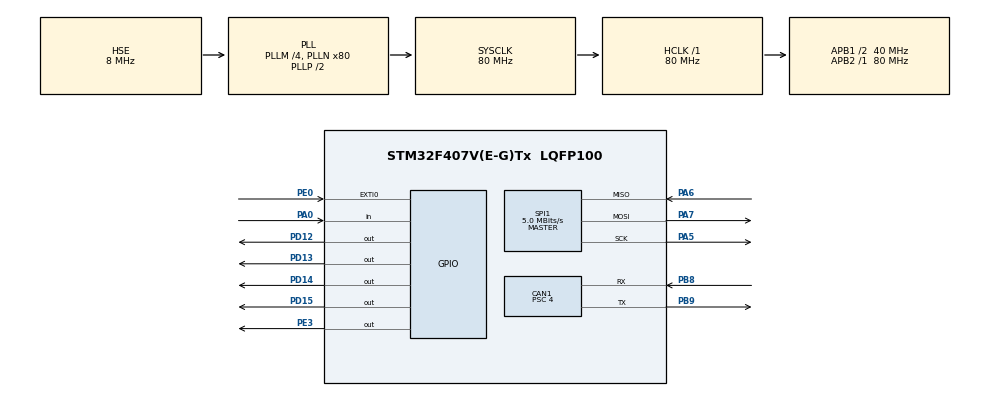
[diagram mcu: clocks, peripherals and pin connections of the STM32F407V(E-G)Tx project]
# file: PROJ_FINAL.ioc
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CAN1.BS1=CAN_BS1_12TQ
CAN1.BS2=CAN_BS2_7TQ
CAN1.CalculateTimeQuantum=100.0
CAN1.NART=ENABLE
CAN1.Prescaler=4
CAN1.SJW=CAN_SJW_3TQ
FREERTOS.Tasks01=Task01,24,240,StartTask01,Default,NULL,Dynamic,NULL,NULL;Task02,8,240,StartTask02,Default,NULL,Dynamic,NULL,NULL;Task03,8,240,StartTask03,Default,NULL,Dynamic,NULL,NULL
Mcu.Family=STM32F4
Mcu.Name=STM32F407V(E-G)Tx
Mcu.Package=LQFP100
NVIC.CAN1_RX0_IRQn=true\:5\:0\:false\:false\:true\:true\:true\:true
NVIC.EXTI0_IRQn=true\:5\:0\:false\:false\:true\:true\:true\:true
NVIC.PriorityGroup=NVIC_PRIORITYGROUP_4
NVIC.TIM6_DAC_IRQn=true\:0\:0\:false\:false\:true\:false\:false\:true
NVIC.TimeBase=TIM6_DAC_IRQn
NVIC.TimeBaseIP=TIM6
PA0-WKUP.Signal=GPIO_Input
PA5.Mode=Full_Duplex_Master
PA5.Signal=SPI1_SCK
PA6.Mode=Full_Duplex_Master
PA6.Signal=SPI1_MISO
PA7.Mode=Full_Duplex_Master
PA7.Signal=SPI1_MOSI
PB8.Mode=Master
PB8.Signal=CAN1_RX
PB9.Mode=Master
PB9.Signal=CAN1_TX
PD12.Signal=GPIO_Output
PD13.Signal=GPIO_Output
PD14.Signal=GPIO_Output
PD15.Signal=GPIO_Output
PE0.Signal=GPXTI0
PE3.Signal=GPIO_Output
PH0-OSC_IN.Mode=HSE-External-Oscillator
PH0-OSC_IN.Signal=RCC_OSC_IN
PH1-OSC_OUT.Mode=HSE-External-Oscillator
PH1-OSC_OUT.Signal=RCC_OSC_OUT
ProjectManager.HeapSize=0x200
ProjectManager.StackSize=0x400
ProjectManager.TargetToolchain=STM32CubeIDE
RCC.48MHZClocksFreq_Value=40000000
RCC.AHBFreq_Value=80000000
RCC.APB1CLKDivider=RCC_HCLK_DIV2
RCC.APB1Freq_Value=40000000
RCC.APB1TimFreq_Value=80000000
RCC.APB2Freq_Value=80000000
RCC.APB2TimFreq_Value=80000000
RCC.CortexFreq_Value=80000000
RCC.HCLKFreq_Value=80000000
RCC.HSE_VALUE=8000000
RCC.HSI_VALUE=16000000
RCC.LSE_VALUE=32768
RCC.PLLM=4
RCC.PLLN=80
RCC.PLLSourceVirtual=RCC_PLLSOURCE_HSE
RCC.SYSCLKFreq_VALUE=80000000
RCC.SYSCLKSource=RCC_SYSCLKSOURCE_PLLCLK
RCC.VCOOutputFreq_Value=160000000
SPI1.BaudRatePrescaler=SPI_BAUDRATEPRESCALER_16
SPI1.CalculateBaudRate=5.0 MBits/s
SPI1.Direction=SPI_DIRECTION_2LINES
SPI1.Mode=SPI_MODE_MASTER
SPI1.VirtualType=VM_MASTER
VP_FREERTOS_VS_CMSIS_V2.Mode=CMSIS_V2
VP_SYS_VS_tim6.Mode=TIM6
board=custom

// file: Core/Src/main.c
/*Electronic Parking Brake System*/

/*Headers*/
#include "main.h"
#include <math.h>
#include "cmsis_os.h"
#include "LIS3DSH.h"
#include "task.h"
#include "semphr.h"
#include "string.h"

/*Macros*/
#define PI 3.147

/* Private variables*/
CAN_HandleTypeDef hcan1;

SPI_HandleTypeDef hspi1;

LIS3DSH_InitTypeDef myAccConfigDef;
LIS3DSH_DataScaled myData;

//for non blocking delays
TickType_t tickstowait = 100;
TimeOut_t timeout;

SemaphoreHandle_t xSemaphore;

//CAN related variables
CAN_HandleTypeDef hcan1;

CAN_FilterTypeDef filter1;
CAN_TxHeaderTypeDef TxHeader;
CAN_RxHeaderTypeDef RxHeader;

char TxData[8];
uint8_t RxData[8];
uint32_t TxMbNum;

/* Definitions for Task01 */
osThreadId_t Task01Handle;
const osThreadAttr_t Task01_attributes = {
  .name = "Task01",
  .priority = (osPriority_t) osPriorityAboveNormal1,
  .stack_size = 240
};
/* Definitions for Task02 */
osThreadId_t Task02Handle;
const osThreadAttr_t Task02_attributes = {
  .name = "Task02",
  .priority = (osPriority_t) osPriorityAboveNormal2,
  .stack_size = 240
};

/* Private function prototypes */
void SystemClock_Config(void);
static void MX_GPIO_Init(void);
static void MX_CAN1_Init(void);
static void MX_SPI1_Init(void);
void StartTask01(void *argument);
void StartTask02(void *argument);

static void CAN1_Filter_Config(void);
static void Can_Tx(void);

static void Acc_config(void);
void Sampling_ACC(void);
static void Intensity_Cal(void);

int main(void)
{
  /*System Initialization*/
  HAL_Init();
  SystemClock_Config();

  /* Initialize all configured peripherals */
  MX_GPIO_Init();
  MX_CAN1_Init();
  MX_SPI1_Init();
  /*Accelerometer specific configurations*/
  Acc_config();
  LIS3DSH_Init(&hspi1, &myAccConfigDef);
  /*CAN specific configurations*/
  CAN1_Filter_Config();
  HAL_CAN_Start(&hcan1);
  HAL_CAN_ActivateNotification(&hcan1, CAN_IT_RX_FIFO0_MSG_PENDING);//receive it

  /* Init scheduler */
  osKernelInitialize();

  /*Semaphore for synchronization*/
  xSemaphore = xSemaphoreCreateCounting(2,0);

  /* Create the thread(s) */
  /* creation of Task01 */
  Task01Handle = osThreadNew(StartTask01, NULL, &Task01_attributes);

  /* creation of Task02 */
  Task02Handle = osThreadNew(StartTask02, NULL, &Task02_attributes);

  /* Start scheduler */
  osKernelStart();

  while (1);
}

void SystemClock_Config(void)
{
  RCC_OscInitTypeDef RCC_OscInitStruct = {0};
  RCC_ClkInitTypeDef RCC_ClkInitStruct = {0};

  /** Configure the main internal regulator output voltage
  */
  __HAL_RCC_PWR_CLK_ENABLE();
  __HAL_PWR_VOLTAGESCALING_CONFIG(PWR_REGULATOR_VOLTAGE_SCALE1);
  /** Initializes the CPU, AHB and APB busses clocks
  */
  RCC_OscInitStruct.OscillatorType = RCC_OSCILLATORTYPE_HSE;
  RCC_OscInitStruct.HSEState = RCC_HSE_ON;
  RCC_OscInitStruct.PLL.PLLState = RCC_PLL_ON;
  RCC_OscInitStruct.PLL.PLLSource = RCC_PLLSOURCE_HSE;
  RCC_OscInitStruct.PLL.PLLM = 4;
  RCC_OscInitStruct.PLL.PLLN = 80;
  RCC_OscInitStruct.PLL.PLLP = RCC_PLLP_DIV2;
  RCC_OscInitStruct.PLL.PLLQ = 4;
  if (HAL_RCC_OscConfig(&RCC_OscInitStruct) != HAL_OK)
  {
    Error_Handler();
  }
  /** Initializes the CPU, AHB and APB busses clocks
  */
  RCC_ClkInitStruct.ClockType = RCC_CLOCKTYPE_HCLK|RCC_CLOCKTYPE_SYSCLK
                              |RCC_CLOCKTYPE_PCLK1|RCC_CLOCKTYPE_PCLK2;
  RCC_ClkInitStruct.SYSCLKSource = RCC_SYSCLKSOURCE_PLLCLK;
  RCC_ClkInitStruct.AHBCLKDivider = RCC_SYSCLK_DIV1;
  RCC_ClkInitStruct.APB1CLKDivider = RCC_HCLK_DIV2;
  RCC_ClkInitStruct.APB2CLKDivider = RCC_HCLK_DIV1;

  if (HAL_RCC_ClockConfig(&RCC_ClkInitStruct, FLASH_LATENCY_2) != HAL_OK)
  {
    Error_Handler();
  }
}

static void MX_CAN1_Init(void)
{

  hcan1.Instance = CAN1;
  hcan1.Init.Prescaler = 4;
  hcan1.Init.Mode = CAN_MODE_NORMAL;
  hcan1.Init.SyncJumpWidth = CAN_SJW_3TQ;
  hcan1.Init.TimeSeg1 = CAN_BS1_12TQ;
  hcan1.Init.TimeSeg2 = CAN_BS2_7TQ;
  hcan1.Init.TimeTriggeredMode = DISABLE;
  hcan1.Init.AutoBusOff = DISABLE;
  hcan1.Init.AutoWakeUp = DISABLE;
  hcan1.Init.AutoRetransmission = ENABLE;
  hcan1.Init.ReceiveFifoLocked = DISABLE;
  hcan1.Init.TransmitFifoPriority = DISABLE;
  if (HAL_CAN_Init(&hcan1) != HAL_OK)
  {
    Error_Handler();
  }

}

static void MX_SPI1_Init(void)
{

  /* SPI1 parameter configuration*/
  hspi1.Instance = SPI1;
  hspi1.Init.Mode = SPI_MODE_MASTER;
  hspi1.Init.Direction = SPI_DIRECTION_2LINES;
  hspi1.Init.DataSize = SPI_DATASIZE_8BIT;
  hspi1.Init.CLKPolarity = SPI_POLARITY_LOW;
  hspi1.Init.CLKPhase = SPI_PHASE_1EDGE;
  hspi1.Init.NSS = SPI_NSS_SOFT;
  hspi1.Init.BaudRatePrescaler = SPI_BAUDRATEPRESCALER_16;
  hspi1.Init.FirstBit = SPI_FIRSTBIT_MSB;
  hspi1.Init.TIMode = SPI_TIMODE_DISABLE;
  hspi1.Init.CRCCalculation = SPI_CRCCALCULATION_DISABLE;
  hspi1.Init.CRCPolynomial = 10;
  if (HAL_SPI_Init(&hspi1) != HAL_OK)
  {
    Error_Handler();
  }

}

static void MX_GPIO_Init(void)
{
  GPIO_InitTypeDef GPIO_InitStruct = {0};

  /* GPIO Ports Clock Enable */
  __HAL_RCC_GPIOE_CLK_ENABLE();
  __HAL_RCC_GPIOH_CLK_ENABLE();
  __HAL_RCC_GPIOA_CLK_ENABLE();
  __HAL_RCC_GPIOD_CLK_ENABLE();
  __HAL_RCC_GPIOB_CLK_ENABLE();

  /*Configure GPIO pin Output Level */
  HAL_GPIO_WritePin(GPIOE, GPIO_PIN_3, GPIO_PIN_RESET);

  /*Configure GPIO pin Output Level */
  HAL_GPIO_WritePin(GPIOD, GPIO_PIN_12|GPIO_PIN_13|GPIO_PIN_14|GPIO_PIN_15, GPIO_PIN_RESET);

  /*Configure GPIO pin : PE3 */
  GPIO_InitStruct.Pin = GPIO_PIN_3;
  GPIO_InitStruct.Mode = GPIO_MODE_OUTPUT_PP;
  GPIO_InitStruct.Pull = GPIO_NOPULL;
  GPIO_InitStruct.Speed = GPIO_SPEED_FREQ_LOW;
  HAL_GPIO_Init(GPIOE, &GPIO_InitStruct);

  /*Configure GPIO pin : PA0 */
  GPIO_InitStruct.Pin = GPIO_PIN_0;
  GPIO_InitStruct.Mode = GPIO_MODE_INPUT;
  GPIO_InitStruct.Pull = GPIO_NOPULL;
  HAL_GPIO_Init(GPIOA, &GPIO_InitStruct);

  /*Configure GPIO pins : PD12 PD13 PD14 PD15 */
  GPIO_InitStruct.Pin = GPIO_PIN_12|GPIO_PIN_13|GPIO_PIN_14|GPIO_PIN_15;
  GPIO_InitStruct.Mode = GPIO_MODE_OUTPUT_PP;
  GPIO_InitStruct.Pull = GPIO_NOPULL;
  GPIO_InitStruct.Speed = GPIO_SPEED_FREQ_LOW;
  HAL_GPIO_Init(GPIOD, &GPIO_InitStruct);

  /*Configure GPIO pin : PE0 */
  GPIO_InitStruct.Pin = GPIO_PIN_0;
  GPIO_InitStruct.Mode = GPIO_MODE_IT_RISING;
  GPIO_InitStruct.Pull = GPIO_NOPULL;
  HAL_GPIO_Init(GPIOE, &GPIO_InitStruct);

  /* EXTI interrupt init*/
  HAL_NVIC_SetPriority(EXTI0_IRQn, 5, 0);
  HAL_NVIC_EnableIRQ(EXTI0_IRQn);

}

/* USER CODE BEGIN 4 */

/*Accelerometer configurations and Initialisation*/
static void Acc_config(void){
	myAccConfigDef.dataRate = LIS3DSH_DATARATE_12_5;
	myAccConfigDef.antiAliasingBW = LIS3DSH_FILTER_BW_50;
	myAccConfigDef.fullScale = LIS3DSH_FULLSCALE_4;
	myAccConfigDef.enableAxes = LIS3DSH_XYZ_ENABLE;
	myAccConfigDef.interruptEnable = false;
	LIS3DSH_X_calibrate(-1020, 1020);
	LIS3DSH_Y_calibrate(-1020, 1020);
	LIS3DSH_Z_calibrate(-1020, 1020);
	LIS3DSH_Init(&hspi1, &myAccConfigDef);
}

/*Can receivers filter configuration*/
static void CAN1_Filter_Config(void){
	filter1.FilterActivation	= ENABLE;
	filter1.FilterBank			= 14;
	filter1.FilterFIFOAssignment= CAN_FILTER_FIFO0;
	filter1.FilterIdHigh		= 0x0000;
	filter1.FilterIdLow			= 0x0000;
	filter1.FilterMaskIdHigh	= 0x0000;
	filter1.FilterMaskIdLow		= 0x0000;
	filter1.FilterMode			= CAN_FILTERMODE_IDMASK;
	filter1.FilterScale			= CAN_FILTERSCALE_32BIT;
	filter1.SlaveStartFilterBank= 0;

	HAL_CAN_ConfigFilter(&hcan1, &filter1);
}

/*Can transmit method*/
static void Can_Tx(void){

	TxHeader.DLC		= 8;
	TxHeader.StdId		= 0X600;
	TxHeader.IDE		= CAN_ID_STD;
	TxHeader.RTR		= CAN_RTR_DATA;

	HAL_CAN_AddTxMessage(&hcan1, &TxHeader, (uint8_t*)TxData, &TxMbNum);

	while(HAL_CAN_IsTxMessagePending(&hcan1, TxMbNum));

	HAL_GPIO_TogglePin(GPIOD, GPIO_PIN_15);
}

/*button debouncing code*/
static int buttonDebounce(void)
{
	static uint16_t buttonState = 0;
	uint8_t pinState = 0;
	pinState = HAL_GPIO_ReadPin(GPIOA, GPIO_PIN_0);
	buttonState = ( ( buttonState << 1 ) | !pinState | 0xE000 );
	if(buttonState == 0xF000){
		HAL_GPIO_TogglePin(GPIOD, GPIO_PIN_13);
		return true;
	}
	return false;
}

/*Intensity Calculator function*/
double ang_x,ang_y,ang_z;
char intensity;
char tire[6];
void Intensity_Cal(void){
	/*angle of inclination on all the x ,y and z axis*/
	ang_x = atan(myData.x/(sqrt(myData.y * myData.y + myData.z * myData.z))) * 180.0 /PI;
	ang_y = atan(myData.y/(sqrt(myData.x * myData.x + myData.z * myData.z))) * 180.0 /PI;
	ang_z = atan(myData.z/(sqrt(myData.x * myData.x + myData.y * myData.y))) * 180.0 /PI;

	/*formula for calculating the intensity of the brake */
	intensity = sqrt((ang_x + ang_y)*(ang_x + ang_y) + (ang_x - ang_y)*(ang_x - ang_y));

	/*determining the correct tires to apply proper brake*/
	if(ang_x > -1 && ang_x < 1 && ang_y<1 && ang_y>-27&&ang_z <80){
		strcpy(tire,"FRONT");
	}else if(ang_x > -1 && ang_x < 1 && ang_y<27 && ang_y>-1 && ang_z <80){
		strcpy(tire,"BACK_");
	}else if(ang_y > -1 && ang_y < 1 && ang_x<1 && ang_x>-27 && ang_z <80){
		strcpy(tire,"RIGHT");
	}else if(ang_y > -1 && ang_y < 1 && ang_x<27 && ang_x>-1 && ang_z <80){
		strcpy(tire,"LEFT_");
	}else if((ang_x >2 && ang_y>2) || (ang_x <-2 && ang_y<-2)){
		strcpy(tire,"DILTR");
	}else if((ang_x <-2 && ang_y>2) || (ang_x >2 && ang_y<-2)){
		strcpy(tire,"DIRTL");
	}else if(ang_y > -1 && ang_y < 1 && ang_x<1 && ang_x>-1 && ang_z >80){
		strcpy(tire,"STABL");
	}
	strcpy(TxData,tire);
	TxData[6] = intensity;
}

/* USER CODE END 4 */

void StartTask01(void *argument)
{
  /* USER CODE BEGIN 5 */
  /* Infinite loop */
  for(;;)
  {
    if(buttonDebounce() == true){
    	xSemaphoreGive(xSemaphore);
    }
    vTaskDelay(2);
  }
  /* USER CODE END 5 */
}

void StartTask02(void *argument)
{
  /* USER CODE BEGIN StartTask02 */
  /* Infinite loop */
  for(;;)
  {
	  HAL_GPIO_TogglePin(GPIOD, GPIO_PIN_14);
	  xSemaphoreTake(xSemaphore,portMAX_DELAY);
	  while(1){
	  	if(LIS3DSH_PollDRDY(100)==true){
	  		  myData = LIS3DSH_GetDataScaled();
	  		  break;
	  	}
	  }
	  Intensity_Cal();
	  Can_Tx();
	  //HAL_GPIO_TogglePin(GPIOD, GPIO_PIN_14);
  }
}

void HAL_TIM_PeriodElapsedCallback(TIM_HandleTypeDef *htim)
{
  if (htim->Instance == TIM6) {
    HAL_IncTick();
  }
}

void Error_Handler(void)
{
}

/************************ (C) COPYRIGHT STMicroelectronics *****END OF FILE****/
